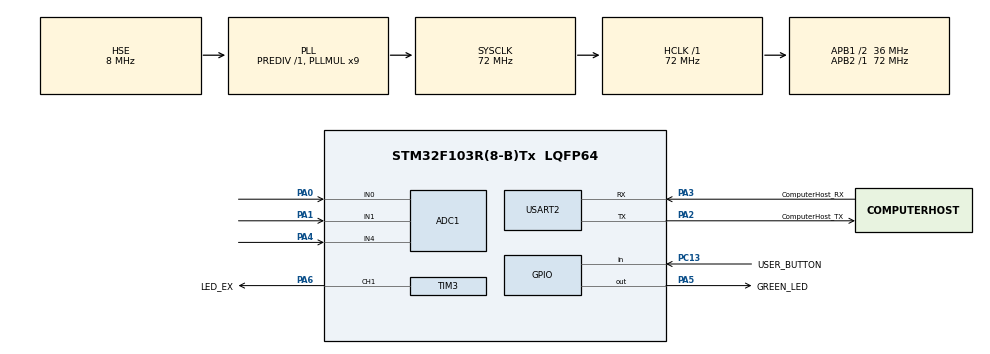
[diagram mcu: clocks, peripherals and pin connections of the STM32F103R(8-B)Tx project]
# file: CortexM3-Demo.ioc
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ADC1.Channel-0\#ChannelRegularConversion=ADC_CHANNEL_0
ADC1.Channel-1\#ChannelRegularConversion=ADC_CHANNEL_1
ADC1.Channel-2\#ChannelRegularConversion=ADC_CHANNEL_4
ADC1.NbrOfConversion=3
ADC1.NbrOfConversionFlag=1
ADC1.Rank-0\#ChannelRegularConversion=1
ADC1.Rank-1\#ChannelRegularConversion=2
ADC1.Rank-2\#ChannelRegularConversion=3
ADC1.SamplingTime-0\#ChannelRegularConversion=ADC_SAMPLETIME_1CYCLE_5
ADC1.SamplingTime-1\#ChannelRegularConversion=ADC_SAMPLETIME_1CYCLE_5
ADC1.SamplingTime-2\#ChannelRegularConversion=ADC_SAMPLETIME_1CYCLE_5
ADC1.master=1
Dma.ADC1.0.Direction=DMA_PERIPH_TO_MEMORY
Dma.ADC1.0.Instance=DMA1_Channel1
Dma.ADC1.0.MemDataAlignment=DMA_MDATAALIGN_WORD
Dma.ADC1.0.MemInc=DMA_MINC_ENABLE
Dma.ADC1.0.Mode=DMA_CIRCULAR
Dma.ADC1.0.PeriphDataAlignment=DMA_PDATAALIGN_WORD
Dma.ADC1.0.PeriphInc=DMA_PINC_DISABLE
Dma.ADC1.0.Priority=DMA_PRIORITY_LOW
Dma.Request0=ADC1
IWDG.Prescaler=IWDG_PRESCALER_32
Mcu.Family=STM32F1
Mcu.Name=STM32F103R(8-B)Tx
Mcu.Package=LQFP64
NVIC.DMA1_Channel1_IRQn=true\:0\:0\:false\:false\:true\:false\:true
NVIC.PriorityGroup=NVIC_PRIORITYGROUP_4
NVIC.USART2_IRQn=true\:0\:0\:false\:false\:true\:true\:true
PA0-WKUP.Signal=ADCx_IN0
PA1.Signal=ADCx_IN1
PA13.GPIO_Label=TMS
PA13.Mode=Serial_Wire
PA13.Signal=SYS_JTMS-SWDIO
PA14.GPIO_Label=TCK
PA14.Mode=Serial_Wire
PA14.Signal=SYS_JTCK-SWCLK
PA2.GPIO_Label=ComputerHost_TX
PA2.GPIO_Mode=GPIO_MODE_AF_PP
PA2.GPIO_PuPd=GPIO_NOPULL
PA2.GPIO_Speed=GPIO_SPEED_FREQ_LOW
PA2.Mode=Asynchronous
PA2.Signal=USART2_TX
PA3.GPIO_Label=ComputerHost_RX
PA3.GPIO_Mode=GPIO_MODE_AF_PP
PA3.GPIO_PuPd=GPIO_NOPULL
PA3.GPIO_Speed=GPIO_SPEED_FREQ_LOW
PA3.Mode=Asynchronous
PA3.Signal=USART2_RX
PA4.Signal=ADCx_IN4
PA5.GPIO_Label=GREEN_LED
PA5.GPIO_ModeDefaultOutputPP=GPIO_MODE_OUTPUT_PP
PA5.GPIO_PuPd=GPIO_NOPULL
PA5.GPIO_Speed=GPIO_SPEED_FREQ_LOW
PA5.Signal=GPIO_Output
PA6.GPIO_Label=LED_EX
PA6.Signal=S_TIM3_CH1
PB3.GPIO_Label=SWO
PB3.Signal=SYS_JTDO-TRACESWO
PC13-TAMPER-RTC.GPIO_Label=USER_BUTTON
PC13-TAMPER-RTC.GPIO_PuPd=GPIO_NOPULL
PC13-TAMPER-RTC.Signal=GPIO_Input
PC14-OSC32_IN.Mode=LSE-External-Oscillator
PC14-OSC32_IN.Signal=RCC_OSC32_IN
PC15-OSC32_OUT.Mode=LSE-External-Oscillator
PC15-OSC32_OUT.Signal=RCC_OSC32_OUT
PD0-OSC_IN.Mode=HSE-External-Clock-Source
PD0-OSC_IN.Signal=RCC_OSC_IN
PD1-OSC_OUT.Mode=HSE-External-Clock-Source
PD1-OSC_OUT.Signal=RCC_OSC_OUT
ProjectManager.HeapSize=0x200
ProjectManager.StackSize=0x400
ProjectManager.TargetToolchain=MDK-ARM V5
RCC.ADCPresc=RCC_ADCPCLK2_DIV6
RCC.AHBFreq_Value=72000000
RCC.APB1CLKDivider=RCC_HCLK_DIV2
RCC.APB1Freq_Value=36000000
RCC.APB1TimFreq_Value=72000000
RCC.APB2Freq_Value=72000000
RCC.APB2TimFreq_Value=72000000
RCC.HCLKFreq_Value=72000000
RCC.PLLMUL=RCC_PLL_MUL9
RCC.PLLSourceVirtual=RCC_PLLSOURCE_HSE
RCC.RTCClockSelection=RCC_RTCCLKSOURCE_LSE
RCC.SYSCLKFreq_VALUE=72000000
RCC.SYSCLKSource=RCC_SYSCLKSOURCE_PLLCLK
RCC.USBFreq_Value=72000000
SH.ADCx_IN0.0=ADC1_IN0,IN0
SH.ADCx_IN1.0=ADC1_IN1,IN1
SH.ADCx_IN4.0=ADC1_IN4,IN4
SH.S_TIM3_CH1.0=TIM3_CH1,PWM Generation1 CH1
TIM3.Channel-PWM\ Generation1\ CH1=TIM_CHANNEL_1
TIM3.Period=703
TIM3.Prescaler=1024
USART2.VirtualMode=VM_ASYNC
VP_IWDG_VS_IWDG.Mode=IWDG_Activate
board=NUCLEO-F103RB

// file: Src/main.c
/* USER CODE BEGIN Header */
/**
  ******************************************************************************
  * @file           : main.c
  * @brief          : Main program body
	* @author         : Chan Tai Wing Vincent
	* @content        : M3 Demo - Analog Digital Converter with Direct Memory Address
	* @version        : Tutorial 6
  ******************************************************************************
  * @attention
  * This program is written for STM32F103RB Nucleo Board. This program is to
  * demonstrate how to read voltage (0~3.3V) by ADC. In order to support
	* multiple channels, direct memory access (DMA) is needed. A0/A1/A2
  ******************************************************************************
  */
/* USER CODE END Header */

#include "main.h"

/* USER CODE BEGIN Includes */
#include "stdbool.h"
/* USER CODE END Includes */

/* USER CODE BEGIN PD */
#define USART_BUFFER_SIZE 3
#define ADC1_CHANNEL_MAX 3
/* USER CODE END PD */

ADC_HandleTypeDef hadc1;
DMA_HandleTypeDef hdma_adc1;

IWDG_HandleTypeDef hiwdg;

TIM_HandleTypeDef htim3;

UART_HandleTypeDef huart2;

/* USER CODE BEGIN PV */

unsigned char USART_RX_BUFFER[USART_BUFFER_SIZE];
unsigned char SYSTEM_START[] = "WELCEOM TO STM32F103RBT6 !\r\n";
uint32_t ADC_DMA_BUFFER[ADC1_CHANNEL_MAX];
int TIMER_COUNTER = 0;

/* USER CODE END PV */

void SystemClock_Config(void);
static void MX_GPIO_Init(void);
static void MX_DMA_Init(void);
static void MX_USART2_UART_Init(void);
static void MX_IWDG_Init(void);
static void MX_ADC1_Init(void);
static void MX_TIM3_Init(void);

int main(void)
{

  /* MCU Configuration--------------------------------------------------------*/

  /* Reset of all peripherals, Initializes the Flash interface and the Systick. */
  HAL_Init();

  /* Configure the system clock */
  SystemClock_Config();

  /* Initialize all configured peripherals */
  MX_GPIO_Init();
  MX_DMA_Init();
  MX_USART2_UART_Init();
  MX_IWDG_Init();
  MX_ADC1_Init();
  MX_TIM3_Init();
  /* USER CODE BEGIN 2 */
  HAL_UART_Transmit(&huart2,SYSTEM_START,sizeof(SYSTEM_START)-1,300); //Ask USART2 to send message and timeout = 300ms
	HAL_UART_Receive_IT(&huart2,USART_RX_BUFFER,sizeof(USART_RX_BUFFER)); //Indicate USART2 to have RX interrupt
  /* USER CODE END 2 */

  /* Infinite loop */
  /* USER CODE BEGIN WHILE */
  while (1)
  {
    HAL_ADC_Start_DMA(&hadc1,(uint32_t*)&ADC_DMA_BUFFER,200);  //START DMA ADC
	  HAL_GPIO_TogglePin(GREEN_LED_GPIO_Port,GREEN_LED_Pin);
    float IN0,IN1,IN4;
		IN0 = ADC_DMA_BUFFER[0]*3.3/4096;      //Convert ADC buffer
		IN1 = ADC_DMA_BUFFER[1]*3.3/4096;
		IN4 = ADC_DMA_BUFFER[2]*3.3/4096;
		unsigned char ADC_IN0[5],ADC_IN1[5],ADC_IN4[5];
		sprintf((char*)&ADC_IN0,"%1.3f",IN0);  //Convert float to char
		sprintf((char*)&ADC_IN1,"%1.3f",IN1);
		sprintf((char*)&ADC_IN4,"%1.3f",IN4);
		// ADC-IN0 Display //
		HAL_UART_Transmit(&huart2,(unsigned char*)"ADC-IN0:",sizeof("ADC-IN0: ")-1,300);
		HAL_UART_Transmit(&huart2,ADC_IN0,sizeof(ADC_IN0),300);
		HAL_UART_Transmit(&huart2,(unsigned char*)"V\r\n",sizeof("V\r\n"),300);
		// ADC-IN1 Display //
		HAL_UART_Transmit(&huart2,(unsigned char*)"ADC-IN2:",sizeof("ADC-IN1: ")-1,300);
		HAL_UART_Transmit(&huart2,ADC_IN1,sizeof(ADC_IN1),300);
		HAL_UART_Transmit(&huart2,(unsigned char*)"V\r\n",sizeof("V\r\n"),300);
		// ADC-IN4 Display //
		HAL_UART_Transmit(&huart2,(unsigned char*)"ADC-IN4:",sizeof("ADC-IN4: ")-1,300);
		HAL_UART_Transmit(&huart2,ADC_IN4,sizeof(ADC_IN4),300);
		HAL_UART_Transmit(&huart2,(unsigned char*)"V\r\n",sizeof("V\r\n"),300);
		HAL_UART_Transmit(&huart2,(unsigned char*)"\r\n",sizeof("\r\n"),300);
		HAL_ADC_Stop_DMA(&hadc1);  //STOP DMA ADC

		HAL_IWDG_Refresh(&hiwdg);   //WATCHDOG Reset [within 3.2s]

    /* USER CODE END WHILE */

  }
}

void SystemClock_Config(void)
{
  RCC_OscInitTypeDef RCC_OscInitStruct = {0};
  RCC_ClkInitTypeDef RCC_ClkInitStruct = {0};
  RCC_PeriphCLKInitTypeDef PeriphClkInit = {0};

  /** Initializes the CPU, AHB and APB busses clocks
  */
  RCC_OscInitStruct.OscillatorType = RCC_OSCILLATORTYPE_LSI|RCC_OSCILLATORTYPE_HSE;
  RCC_OscInitStruct.HSEState = RCC_HSE_BYPASS;
  RCC_OscInitStruct.HSEPredivValue = RCC_HSE_PREDIV_DIV1;
  RCC_OscInitStruct.HSIState = RCC_HSI_ON;
  RCC_OscInitStruct.LSIState = RCC_LSI_ON;
  RCC_OscInitStruct.PLL.PLLState = RCC_PLL_ON;
  RCC_OscInitStruct.PLL.PLLSource = RCC_PLLSOURCE_HSE;
  RCC_OscInitStruct.PLL.PLLMUL = RCC_PLL_MUL9;
  if (HAL_RCC_OscConfig(&RCC_OscInitStruct) != HAL_OK)
  {
    Error_Handler();
  }
  /** Initializes the CPU, AHB and APB busses clocks
  */
  RCC_ClkInitStruct.ClockType = RCC_CLOCKTYPE_HCLK|RCC_CLOCKTYPE_SYSCLK
                              |RCC_CLOCKTYPE_PCLK1|RCC_CLOCKTYPE_PCLK2;
  RCC_ClkInitStruct.SYSCLKSource = RCC_SYSCLKSOURCE_PLLCLK;
  RCC_ClkInitStruct.AHBCLKDivider = RCC_SYSCLK_DIV1;
  RCC_ClkInitStruct.APB1CLKDivider = RCC_HCLK_DIV2;
  RCC_ClkInitStruct.APB2CLKDivider = RCC_HCLK_DIV1;

  if (HAL_RCC_ClockConfig(&RCC_ClkInitStruct, FLASH_LATENCY_2) != HAL_OK)
  {
    Error_Handler();
  }
  PeriphClkInit.PeriphClockSelection = RCC_PERIPHCLK_ADC;
  PeriphClkInit.AdcClockSelection = RCC_ADCPCLK2_DIV6;
  if (HAL_RCCEx_PeriphCLKConfig(&PeriphClkInit) != HAL_OK)
  {
    Error_Handler();
  }
}

static void MX_ADC1_Init(void)
{

  ADC_ChannelConfTypeDef sConfig = {0};

  /** Common config
  */
  hadc1.Instance = ADC1;
  hadc1.Init.ScanConvMode = ADC_SCAN_ENABLE;
  hadc1.Init.ContinuousConvMode = DISABLE;
  hadc1.Init.DiscontinuousConvMode = DISABLE;
  hadc1.Init.ExternalTrigConv = ADC_SOFTWARE_START;
  hadc1.Init.DataAlign = ADC_DATAALIGN_RIGHT;
  hadc1.Init.NbrOfConversion = 3;
  if (HAL_ADC_Init(&hadc1) != HAL_OK)
  {
    Error_Handler();
  }
  /** Configure Regular Channel
  */
  sConfig.Channel = ADC_CHANNEL_0;
  sConfig.Rank = ADC_REGULAR_RANK_1;
  sConfig.SamplingTime = ADC_SAMPLETIME_1CYCLE_5;
  if (HAL_ADC_ConfigChannel(&hadc1, &sConfig) != HAL_OK)
  {
    Error_Handler();
  }
  /** Configure Regular Channel
  */
  sConfig.Channel = ADC_CHANNEL_1;
  sConfig.Rank = ADC_REGULAR_RANK_2;
  if (HAL_ADC_ConfigChannel(&hadc1, &sConfig) != HAL_OK)
  {
    Error_Handler();
  }
  /** Configure Regular Channel
  */
  sConfig.Channel = ADC_CHANNEL_4;
  sConfig.Rank = ADC_REGULAR_RANK_3;
  if (HAL_ADC_ConfigChannel(&hadc1, &sConfig) != HAL_OK)
  {
    Error_Handler();
  }

}

static void MX_IWDG_Init(void)
{

  hiwdg.Instance = IWDG;
  hiwdg.Init.Prescaler = IWDG_PRESCALER_32;
  hiwdg.Init.Reload = 4095;
  if (HAL_IWDG_Init(&hiwdg) != HAL_OK)
  {
    Error_Handler();
  }

}

static void MX_TIM3_Init(void)
{

  TIM_MasterConfigTypeDef sMasterConfig = {0};
  TIM_OC_InitTypeDef sConfigOC = {0};

  htim3.Instance = TIM3;
  htim3.Init.Prescaler = 1024;
  htim3.Init.CounterMode = TIM_COUNTERMODE_UP;
  htim3.Init.Period = 703;
  htim3.Init.ClockDivision = TIM_CLOCKDIVISION_DIV1;
  htim3.Init.AutoReloadPreload = TIM_AUTORELOAD_PRELOAD_DISABLE;
  if (HAL_TIM_PWM_Init(&htim3) != HAL_OK)
  {
    Error_Handler();
  }
  sMasterConfig.MasterOutputTrigger = TIM_TRGO_RESET;
  sMasterConfig.MasterSlaveMode = TIM_MASTERSLAVEMODE_DISABLE;
  if (HAL_TIMEx_MasterConfigSynchronization(&htim3, &sMasterConfig) != HAL_OK)
  {
    Error_Handler();
  }
  sConfigOC.OCMode = TIM_OCMODE_PWM1;
  sConfigOC.Pulse = 0;
  sConfigOC.OCPolarity = TIM_OCPOLARITY_HIGH;
  sConfigOC.OCFastMode = TIM_OCFAST_DISABLE;
  if (HAL_TIM_PWM_ConfigChannel(&htim3, &sConfigOC, TIM_CHANNEL_1) != HAL_OK)
  {
    Error_Handler();
  }
  HAL_TIM_MspPostInit(&htim3);

}

static void MX_USART2_UART_Init(void)
{

  huart2.Instance = USART2;
  huart2.Init.BaudRate = 115200;
  huart2.Init.WordLength = UART_WORDLENGTH_8B;
  huart2.Init.StopBits = UART_STOPBITS_1;
  huart2.Init.Parity = UART_PARITY_NONE;
  huart2.Init.Mode = UART_MODE_TX_RX;
  huart2.Init.HwFlowCtl = UART_HWCONTROL_NONE;
  huart2.Init.OverSampling = UART_OVERSAMPLING_16;
  if (HAL_UART_Init(&huart2) != HAL_OK)
  {
    Error_Handler();
  }

}

static void MX_DMA_Init(void)
{

  /* DMA controller clock enable */
  __HAL_RCC_DMA1_CLK_ENABLE();

  /* DMA interrupt init */
  /* DMA1_Channel1_IRQn interrupt configuration */
  HAL_NVIC_SetPriority(DMA1_Channel1_IRQn, 0, 0);
  HAL_NVIC_EnableIRQ(DMA1_Channel1_IRQn);

}

static void MX_GPIO_Init(void)
{
  GPIO_InitTypeDef GPIO_InitStruct = {0};

  /* GPIO Ports Clock Enable */
  __HAL_RCC_GPIOC_CLK_ENABLE();
  __HAL_RCC_GPIOD_CLK_ENABLE();
  __HAL_RCC_GPIOA_CLK_ENABLE();
  __HAL_RCC_GPIOB_CLK_ENABLE();

  /*Configure GPIO pin Output Level */
  HAL_GPIO_WritePin(GREEN_LED_GPIO_Port, GREEN_LED_Pin, GPIO_PIN_RESET);

  /*Configure GPIO pin : USER_BUTTON_Pin */
  GPIO_InitStruct.Pin = USER_BUTTON_Pin;
  GPIO_InitStruct.Mode = GPIO_MODE_INPUT;
  GPIO_InitStruct.Pull = GPIO_NOPULL;
  HAL_GPIO_Init(USER_BUTTON_GPIO_Port, &GPIO_InitStruct);

  /*Configure GPIO pin : GREEN_LED_Pin */
  GPIO_InitStruct.Pin = GREEN_LED_Pin;
  GPIO_InitStruct.Mode = GPIO_MODE_OUTPUT_PP;
  GPIO_InitStruct.Pull = GPIO_NOPULL;
  GPIO_InitStruct.Speed = GPIO_SPEED_FREQ_LOW;
  HAL_GPIO_Init(GREEN_LED_GPIO_Port, &GPIO_InitStruct);

}

/* USER CODE BEGIN 4 */
void HAL_UART_RxCpltCallback(UART_HandleTypeDef *huart)  //USART Receive Interrupt
{
  UNUSED(huart);
	if (huart == &huart2)  //Decide what should USART2 do when message is received
	{
      //empty
	}
}

/* USER CODE END 4 */

void Error_Handler(void)
{
}

/************************ (C) COPYRIGHT STMicroelectronics *****END OF FILE****/
